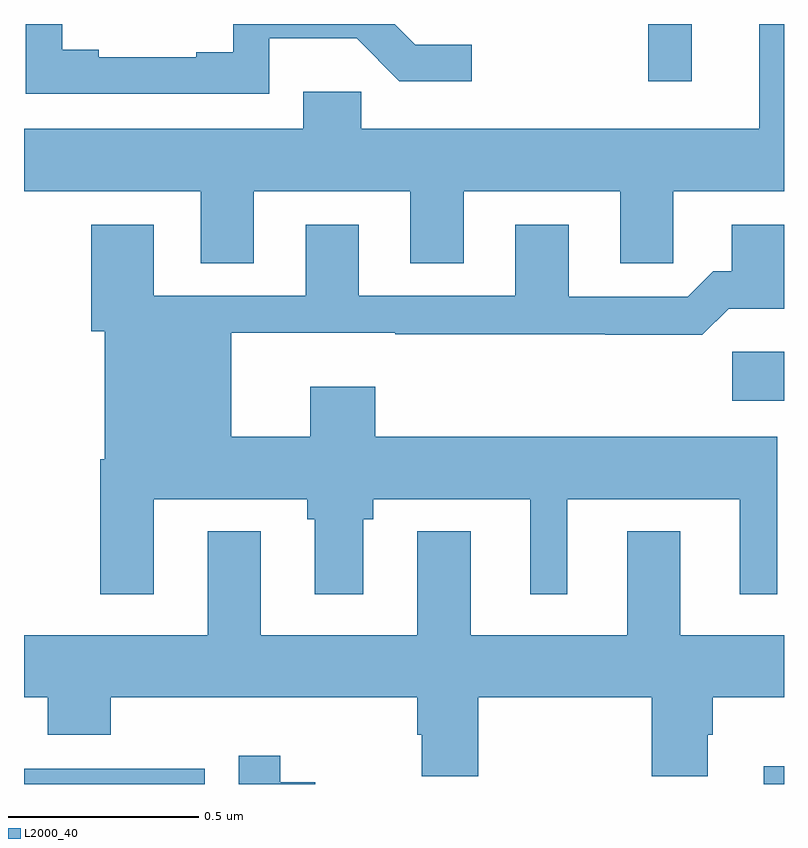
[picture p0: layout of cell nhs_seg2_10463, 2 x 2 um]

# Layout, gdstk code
import gdstk
lib = gdstk.Library(unit=1e-6, precision=1e-09)
def R(c, l, rs):  # rectangles x0, y0, x1, y1
    for r in rs: c.add(gdstk.rectangle(r[:2], r[2:], *l))
def P(c, l, *ps):  # polygons
    for p in ps: c.add(gdstk.Polygon(p, *l))
L2000_40 = (2000, 40)

nhs_seg2_10463 = lib.new_cell('nhs_seg2_10463')
R(nhs_seg2_10463, L2000_40, [(242,588.8,242.475,588.84), (243.947,588.8,244,588.847), (243.864,589.808,244,589.937), (243.643,590.649,243.757,590.8)])
P(nhs_seg2_10463, L2000_40, [(242.605,590.36),(243.017,590.36),(243.017,590.17),(243.157,590.17),(243.157,590.36),(243.569,590.36),(243.569,590.17),(243.708,590.17),(243.708,590.36),(244,590.36),(244,590.8),(243.935,590.8),(243.935,590.524),(242.887,590.524),(242.887,590.622),(242.735,590.622),(242.735,590.524),(242,590.524),(242,590.36),(242.465,590.36),(242.465,590.17),(242.605,590.17)],
  [(242.646,590.762),(242.875,590.762),(242.988,590.649),(243.178,590.649),(243.178,590.746),(243.029,590.746),(242.975,590.8),(242.55,590.8),(242.55,590.726),(242.453,590.726),(242.453,590.712),(242.197,590.712),(242.197,590.732),(242.101,590.732),(242.101,590.8),(242.004,590.8),(242.004,590.616),(242.646,590.616)],
  [(242.341,589.55),(242.746,589.55),(242.746,589.497),(242.765,589.497),(242.765,589.299),(242.893,589.299),(242.893,589.497),(242.919,589.497),(242.919,589.55),(243.332,589.55),(243.332,589.299),(243.43,589.299),(243.43,589.55),(243.884,589.55),(243.884,589.299),(243.982,589.299),(243.982,589.714),(242.924,589.714),(242.924,589.846),(242.753,589.846),(242.753,589.714),(242.545,589.714),(242.545,589.988),(242.977,589.988),(242.977,589.984),(243.529,589.984),(243.529,589.982),(243.785,589.982),(243.854,590.051),(244,590.051),(244,590.272),(243.863,590.272),(243.863,590.149),(243.814,590.149),(243.747,590.082),(243.433,590.082),(243.433,590.272),(243.293,590.272),(243.293,590.085),(242.881,590.085),(242.881,590.272),(242.741,590.272),(242.741,590.085),(242.341,590.085),(242.341,590.272),(242.177,590.272),(242.177,589.992),(242.213,589.992),(242.213,589.654),(242.201,589.654),(242.201,589.299),(242.341,589.299)],
  [(243.195,589.028),(243.652,589.028),(243.652,588.82),(243.799,588.82),(243.799,588.93),(243.812,588.93),(243.812,589.028),(244,589.028),(244,589.192),(243.727,589.192),(243.727,589.465),(243.587,589.465),(243.587,589.192),(243.175,589.192),(243.175,589.465),(243.035,589.465),(243.035,589.192),(242.623,589.192),(242.623,589.465),(242.483,589.465),(242.483,589.192),(242,589.192),(242,589.028),(242.063,589.028),(242.063,588.929),(242.228,588.929),(242.228,589.028),(243.035,589.028),(243.035,588.93),(243.047,588.93),(243.047,588.82),(243.195,588.82)],
  [(242.766,588.804),(242.674,588.804),(242.674,588.874),(242.565,588.874),(242.565,588.8),(242.766,588.8)])

lib.write_gds('nhs_seg2_10463.gds')
